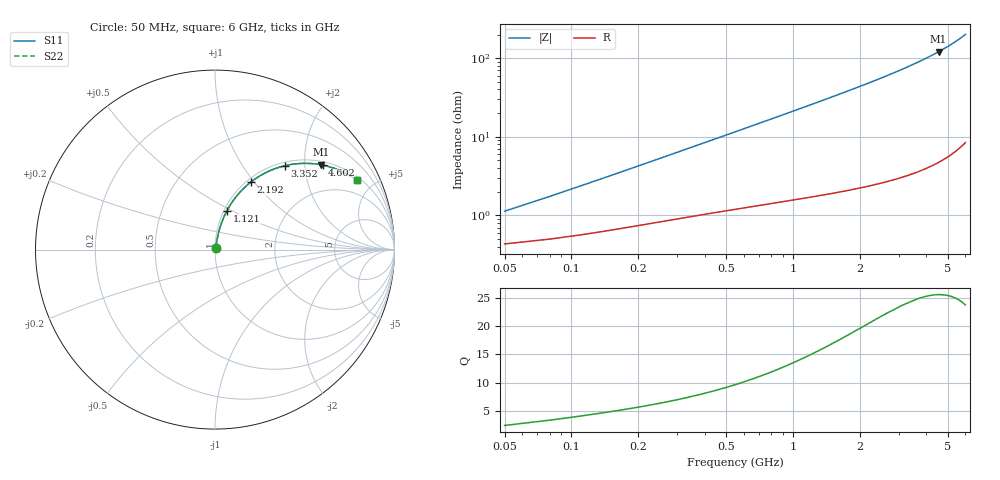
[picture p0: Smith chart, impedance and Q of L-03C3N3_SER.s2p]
! L-03C3N3
! Data taken by Rita
! Created Thu Jun 15 17:39:15 2006
# hz S ma R 50
! 2 Port Network Data from SP1.SP block
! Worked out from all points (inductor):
!   201 points, 50 MHz to 6 GHz, reference 50 ohm
!   read as one part in series: L = 3.32 nH near 79.75 MHz
!   highest Q = 25.6 at 4.542 GHz (marker M1), where L = 4.23 nH
!   S11 on the Smith chart (normalised r, x): 50 MHz: 1.01, +0.02; 1.121 GHz: 1.03, +0.47; 2.192 GHz: 1.05, +0.96; 3.352 GHz: 1.07, +1.58; 4.602 GHz: 1.10, +2.46; 6 GHz: 1.17, +4.00
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5e7  0.01124 66.9  0.9956 -0.6  0.9956 -0.6  0.01124 66.9
7.975e7  0.01728 72.4  0.9949 -0.9  0.9949 -0.9  0.01728 72.4
1.095e8  0.02339 74.9  0.9941 -1.3  0.9941 -1.3  0.02339 74.9
1.3925e8  0.02952 76.2  0.9934 -1.7  0.9934 -1.7  0.02952 76.2
1.69e8  0.03565 77.0  0.9926 -2.0  0.9926 -2.0  0.03565 77.0
2.5825e8  0.05402 78.1  0.9903 -3.1  0.9903 -3.1  0.05402 78.1
3.475e8  0.07233 78.3  0.9879 -4.1  0.9879 -4.1  0.07233 78.3
4.665e8  0.09663 78.0  0.9845 -5.5  0.9845 -5.5  0.09663 78.0
6.45e8  0.1328 77.0  0.9787 -7.6  0.9787 -7.6  0.1328 77.0
8.235e8  0.1687 75.6  0.9718 -9.7  0.9718 -9.7  0.1687 75.6
1.0615e9  0.2159 73.5  0.9611 -12.4  0.9611 -12.4  0.2159 73.5
1.121e9  0.2276 72.9  0.9581 -13.1  0.9581 -13.1  0.2276 72.9
1.5375e9  0.3075 68.8  0.9337 -17.9  0.9337 -17.9  0.3075 68.8
2.0433e9  0.4 63.6  0.8966 -23.5  0.8966 -23.5  0.4 63.6
2.192e9  0.426 62.0  0.8841 -25.2  0.8841 -25.2  0.426 62.0
3.025e9  0.5612 53.5  0.8041 -34.1  0.8041 -34.1  0.5612 53.5
3.3523e9  0.609 50.2  0.7685 -37.5  0.7685 -37.5  0.609 50.2
4.0365e9  0.6986 43.5  0.6885 -44.3  0.6885 -44.3  0.6986 43.5
4.5423e9  0.7558 38.7  0.626 -49.0  0.626 -49.0  0.7558 38.7
4.6018e9  0.762 38.2  0.6185 -49.6  0.6185 -49.6  0.762 38.2
5.0183e9  0.8028 34.4  0.5656 -53.3  0.5656 -53.3  0.8028 34.4
6e9  0.88 26.0  0.4394 -61.5  0.4394 -61.5  0.88 26.0
